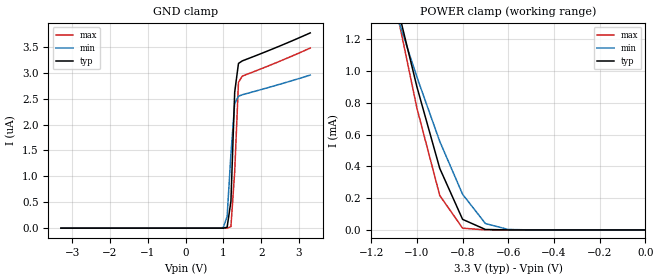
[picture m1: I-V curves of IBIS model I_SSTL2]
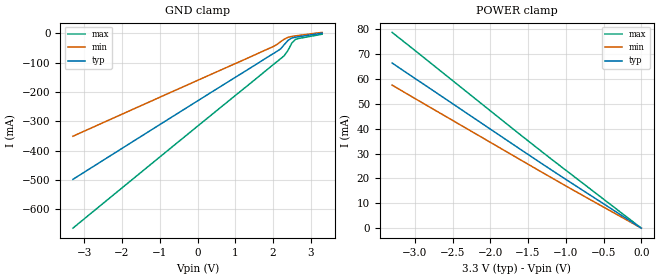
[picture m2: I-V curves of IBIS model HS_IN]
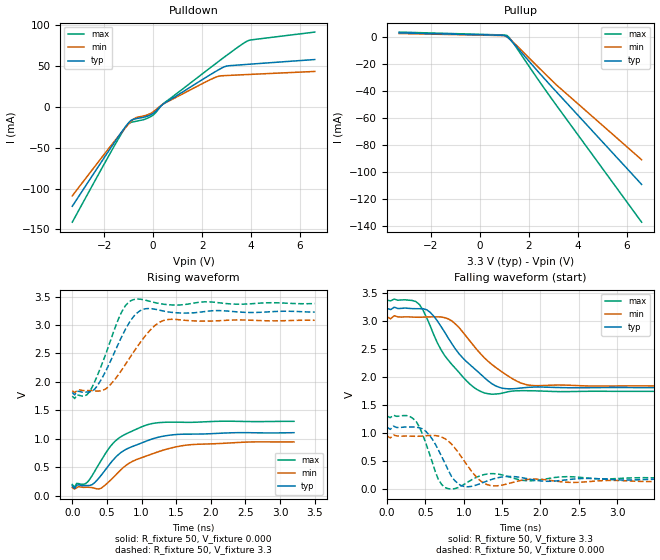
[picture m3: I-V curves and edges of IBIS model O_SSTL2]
[IBIS ver]   3.2
[File name]   sample2.ibs
[File Rev]   0
[Date]   10/23/2001
[Source]   Company_ABC, Adapted From Real IBIS Model
[Copyright]   Public Sample
|   Component XYZ123
[Component]   XYZ123
[Manufacturer]   Company_ABC
[Package]
| variable   typ   min   max
R_pkg   0.0m   0.0m   0.0m
L_pkg   3.0nH   2.0nH   4.0nH
C_pkg   0.5pF   0.3pF   0.8pf
[Pin] signal_name   model_name   R_pin   L_pin   C_pin
2   TX[0]   I_SSTL2
3   TX[1]   I_SSTL2
4   TX[2]   I_SSTL2
5   VREFT   NC
6   TX[3]   I_SSTL2
7   TX[4]   I_SSTL2
8   TX[5]   I_SSTL2
9   TX[6]   I_SSTL2
10   RBC_SYNC   I_SSTL2
11   TX[7]   I_SSTL2
12   TX[8]   I_SSTL2
13   TX[9]   I_SSTL2
14   TX_RATE   I_SSTL2
15   GND_TXA   GND
16   TXCAP1   NC
17   TXCAP0   NC
18   VCC_TXA   POWER
19   EWRAP   I_SSTL2
20   VCC   POWER
21   GND   GND
22   REFCLK[1]   HS_IN
23   REFCLK[0]   HS_IN
24   EN_CDET   I_SSTL2
25   GND   GND
26   RX_LOS   O_SSTL2
27   COM_DET   O_SSTL2
28   VCC   POWER
29   N/C   NC
30   RBC[1]   O_SSTL2
31   RBC[0]   O_SSTL2
32   GND_SSTL   GND
33   GND_SSTL   GND
34   RX[9]   O_SSTL2
35   RX[8]   O_SSTL2
36   RX[7]   O_SSTL2
37   VCC_SSTL   POWER
38   RX[6]   O_SSTL2
39   RX[5]   O_SSTL2
40   RX[4]   O_SSTL2
41   RX[3]   O_SSTL2
42   VCC_SSTL   POWER
43   RX[2]   O_SSTL2
44   RX[1]   O_SSTL2
45   RX[0]   O_SSTL2
46   GND_SSTL   GND
47   VREFR   NC
48   RXCAP0   NC
49   RXCAP1   NC
50   VCC_RXA   POWER
51   GND_RXA   GND
52   SI+   HS_IN
53   SI-   HS_IN
54   VCC   POWER
55   RX_RATE   I_SSTL2
56   EQAMP   NC
57   VCC   POWER
58   GND   GND
59   VCC   POWER
60   VCC_TXHS   POWER
61   SO-   HS_OUT
62   SO+   HS_OUT
63   VCC_TXHS   POWER
64   GND_TXHS   GND
[Diff Pin] inv_pin vdiff tdelay_typ tdelay_min tdelay_max
52   53   1.2   0   NA   NA
| Input Pin Pairs
22   23   1.2   0   NA   NA
| Output Pin Pairs
62   61   0   0   NA   NA
[Model Selector]   HS_OUT
HS_OUT_no_preemph   buffer with no preemphasis
HS_OUT_nom_preemph   buffer with nominal preemphasis
HS_OUT_max_preemph   buffer with maximum preemphasis
| Models and submodels in the file (7): I_SSTL2 (Input), HS_IN (Input), O_SSTL2 (Output), XYZ123sstl3 (Output), HS_OUT_no_preemph (Output_ECL), HS_OUT_nom_preemph (Output_ECL), HS_OUT_max_preemph (Output_ECL)
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|   Model I_SSTL2
[Model]   I_SSTL2
Model_type   Input
Polarity   Non-Inverting
Vinl   = 0.8
Vinh   = 2.0
C_comp   1.6pF   NA   NA
[Temperature Range]   50   125   0
[Voltage Range]   3.3V   3.135V   3.465V
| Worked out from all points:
|   POWER clamp passes 1 mA (typ) near -1.02 V on its own axis
[GND Clamp]
|  voltage   I(typ)   I(min)   I(max)
-3.3V     -10.5pA    -10.5pA    -10.66pA
900mV     16.78pA    802.5pA    -1.296pA
1V        540.7pA    14.41nA    9.178pA
1.1V      18.79nA    227nA      469.6pA
1.2V      516.5nA    1.431uA    30.37nA
1.3V      2.625uA    2.404uA    1.087uA
1.4V      3.179uA    2.547uA    2.814uA
1.5V      3.228uA    2.574uA    2.933uA
3.3V      3.768uA    2.954uA    3.476uA
[POWER Clamp]
|  voltage   I(typ)   I(min)   I(max)
-3.3V     16.74mA    12.5mA     19.75mA
-1.1V     1.494mA    1.404mA    1.461mA
-1V       902.4uA    963.6uA    768.5uA
-900mV    388.1uA    558.1uA    217.5uA
-800mV    66.8uA     224.8uA    11.31uA
-700mV    3.107uA    40.41uA    423.7nA
-600mV    286nA      3.095uA    210.1nA
0V        0A         0A         0A
|   Model HS_IN
[Model]   HS_IN
Model_type   Input
Polarity   Non-Inverting
Vinl   = 1.3
Vinh   = 2.6
C_comp   1.6pF   NA   NA
[Temperature Range]   50   125   0
[Voltage Range]   3.3V   3.135V   3.465V
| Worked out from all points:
|   POWER clamp passes 1 mA (typ) near -0.05 V on its own axis
[GND Clamp]
| voltage   I(typ)   I(min)   I(max)
-3.3V     -497.6mA   -350.5mA   -663.9mA
2V        -69.21mA   -45.01mA   -106.8mA
2.2V      -52.69mA   -28.25mA   -86.16mA
2.3V      -37.72mA   -19.24mA   -75.46mA
2.4V      -23.25mA   -12.82mA   -56.8mA
2.5V      -15.24mA   -9.906mA   -32.38mA
2.6V      -12.64mA   -8.108mA   -19.61mA
3.3V      1.111mA    3.767mA    -2.567mA
[POWER Clamp]
| voltage   I(typ)   I(min)   I(max)
-3.3V     66.4mA     57.51mA    78.71mA
-1.4V     27.61mA    23.95mA    32.73mA
-900mV    17.65mA    15.26mA    20.97mA
0V        0A         0A         0A
|   Model O_SSTL2
[Model]   O_SSTL2
Model_type   Output
Polarity   Non-Inverting
Vmeas   = 0.8V
Cref   = 0pF
Vref   = 0V
Rref   = 50ohms
C_comp   1.6pF   NA   NA
[Temperature Range]   50   125   0
[Voltage Range]   3.3V   3.135V   3.465V
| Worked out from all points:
|   slope of the pulldown table from 0 to 0.495 V, typ, clamps not added: 38 ohm
|   slope of the pullup table from 0 to 0.495 V, typ, clamps not added: 2.37 kohm
|   rising waveform, R_fixture 50, V_fixture 0.000: 20-80 % time 570ps typ, 695ps min, 456ps max; typ from 0.171 V to 1.11 V
|   rising waveform, R_fixture 50, V_fixture 3.3: 20-80 % time 333ps typ, 427ps min, 300ps max; typ from 1.81 V to 3.23 V
|   falling waveform, R_fixture 50, V_fixture 3.3: 20-80 % time 501ps typ, 532ps min, 427ps max; typ from 3.23 V to 1.81 V
|   falling waveform, R_fixture 50, V_fixture 0.000: 20-80 % time 216ps typ, 260ps min, 175ps max; typ from 1.1 V to 0.168 V
[Pulldown]
| voltage   I(typ)   I(min)   I(max)
-3.3V     -121.8mA   -109mA     -141.3mA
-1.5V     -40.07mA   -39.17mA   -43.48mA
-1V       -19.44mA   -21.05mA   -20.29mA
-900mV    -16.51mA   -17.83mA   -18.94mA
-700mV    -14.52mA   -13.23mA   -17.65mA
-300mV    -12.11mA   -10.45mA   -14.81mA
0V        -7.985mA   -6.154mA   -10.14mA
400mV     3.225mA    3.331mA    3.539mA
2.5V      42.4mA     35.62mA    51.71mA
3V        50.02mA    38.41mA    63.01mA
3.8V      51.96mA    39.54mA    79.9mA
6.6V      57.99mA    43.38mA    91.61mA
[Pullup]
| voltage   I(typ)   I(min)   I(max)
-3.3V     2.782mA    2.352mA    3.39mA
900mV     1.009mA    811.7uA    1.285mA
1.1V      56.45uA    -129.7uA   878.5uA
1.3V      -3.498mA   -3.1mA     -3.154mA
2.4V      -26.32mA   -22.86mA   -32.34mA
3.1V      -40.33mA   -35.26mA   -50.2mA
6.6V      -109.1mA   -90.89mA   -137mA
| variable   typ   min   max
[Ramp]
dV/dt_r  0.560978V/0.569685ns   0.482245V/0.694787ns   0.6665V/0.45554ns
dV/dt_f  0.85056V/0.500696ns   0.74214V/0.531715ns   0.98004V/0.426905ns
R_load   = 50
[Rising Waveform]
R_fixture   = 50
V_fixture   = 0.000
V_fixture_min   = 0.000
V_fixture_max   = 0.000
|  time   V(typ)   V(min)   V(max)
0s        170.7mV    140.2mV    194.4mV
32ps      123mV      112.3mV    146.7mV
192ps     175.3mV    145.5mV    210mV
288ps     193.3mV    138.8mV    353mV
416ps     355mV      129.3mV    614.8mV
672ps     726.3mV    417.5mV    1.01V
864ps     860.4mV    598.5mV    1.133V
1.12ns    981mV      717.9mV    1.258V
1.696ns   1.08V      893.2mV    1.288V
3.2ns     1.106V     943.9mV    1.305V
[Rising Waveform]
R_fixture   = 50
V_fixture   = 3.3
V_fixture_min   = 3.135
V_fixture_max   = 3.465
|  time   V(typ)   V(min)   V(max)
0s        1.814V     1.841V     1.747V
210ps     1.821V     1.847V     1.772V
315ps     1.859V     1.841V     1.98V
490ps     2.205V     1.882V     2.511V
700ps     2.76V      2.184V     3.198V
875ps     3.132V     2.506V     3.442V
1.05ns    3.284V     2.803V     3.438V
1.19ns    3.278V     2.987V     3.394V
1.365ns   3.234V     3.092V     3.358V
3.5ns     3.226V     3.082V     3.377V
[Falling Waveform]
R_fixture   = 50
V_fixture   = 3.3
V_fixture_min   = 3.135
V_fixture_max   = 3.465
|  time   V(typ)   V(min)   V(max)
0s        3.232V     3.079V     3.38V
376ps     3.226V     3.074V     3.354V
517ps     3.208V     3.078V     3.061V
752ps     2.805V     3.065V     2.387V
940ps     2.418V     2.888V     2.084V
1.128ns   2.167V     2.567V     1.822V
1.269ns   1.992V     2.347V     1.718V
1.504ns   1.804V     2.09V      1.715V
1.88ns    1.822V     1.854V     1.757V
4.7ns     1.814V     1.842V     1.747V
[Falling Waveform]
R_fixture   = 50
V_fixture   = 0.000
V_fixture_min   = 0.000
V_fixture_max   = 0.000
|  time   V(typ)   V(min)   V(max)
0s        1.105V     949.6mV    1.304V
378ps     1.107V     942.2mV    1.213V
504ps     1.034V     951.9mV    828.2mV
672ps     691mV      945.9mV    162.8mV
798ps     337.1mV    857.3mV    5.697mV
1.008ns   43.43mV    498.3mV    85.09mV
1.176ns   75.59mV    198.2mV    215.2mV
1.344ns   161.9mV    63.19mV    274mV
1.848ns   178.6mV    172.7mV    145.6mV
4.2ns     167.6mV    140.3mV    196.4mV
